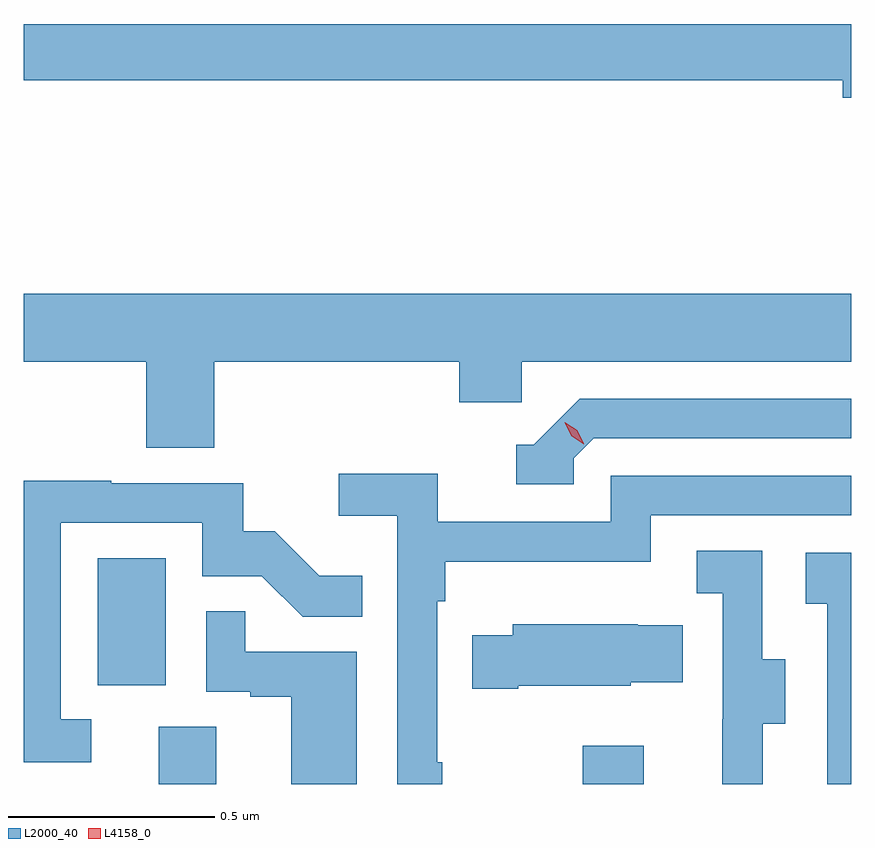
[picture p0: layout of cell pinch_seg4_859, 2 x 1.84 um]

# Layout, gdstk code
import gdstk
lib = gdstk.Library(unit=1e-6, precision=1e-09)
def R(c, l, rs):  # rectangles x0, y0, x1, y1
    for r in rs: c.add(gdstk.rectangle(r[:2], r[2:], *l))
def P(c, l, *ps):  # polygons
    for p in ps: c.add(gdstk.Polygon(p, *l))
L2000_40 = (2000, 40)
L4158_0 = (4158, 0)

pinch_seg4_859 = lib.new_cell('pinch_seg4_859')
R(pinch_seg4_859, L2000_40, [(875.645,803.792,875.785,803.93), (876.67,803.792,876.817,803.884), (875.498,804.03,875.662,804.337)])
P(pinch_seg4_859, L2000_40, [(877.319,805.628),(875.319,805.628),(875.319,805.492),(877.298,805.492),(877.298,805.45),(877.319,805.45)],
  [(875.78,804.812),(876.371,804.812),(876.371,804.714),(876.522,804.714),(876.522,804.812),(877.319,804.812),(877.319,804.976),(875.319,804.976),(875.319,804.812),(875.615,804.812),(875.615,804.604),(875.78,804.604)],
  [(876.648,804.579),(876.696,804.627),(877.319,804.627),(877.319,804.723),(876.663,804.723),(876.552,804.612),(876.509,804.612),(876.509,804.516),(876.648,804.516)],
  [(876.331,803.845),(876.318,803.845),(876.318,804.233),(876.338,804.233),(876.338,804.329),(876.834,804.329),(876.834,804.441),(877.319,804.441),(877.319,804.537),(876.738,804.537),(876.738,804.426),(876.32,804.426),(876.32,804.542),(876.081,804.542),(876.081,804.44),(876.222,804.44),(876.222,803.792),(876.331,803.792)],
  [(875.482,803.949),(875.409,803.949),(875.409,804.423),(875.751,804.423),(875.751,804.294),(875.895,804.294),(875.993,804.196),(876.137,804.196),(876.137,804.295),(876.033,804.295),(875.926,804.402),(875.85,804.402),(875.85,804.519),(875.531,804.519),(875.531,804.524),(875.319,804.524),(875.319,803.844),(875.482,803.844)],
  [(877.105,803.938),(877.159,803.938),(877.159,804.093),(877.104,804.093),(877.104,804.356),(876.945,804.356),(876.945,804.253),(877.008,804.253),(877.008,803.949),(877.007,803.949),(877.007,803.792),(877.105,803.792)],
  [(877.319,804.351),(877.209,804.351),(877.209,804.227),(877.26,804.227),(877.26,803.792),(877.319,803.792)],
  [(876.124,804.111),(875.855,804.111),(875.855,804.209),(875.76,804.209),(875.76,804.015),(875.867,804.015),(875.867,804.003),(875.966,804.003),(875.966,803.792),(876.124,803.792)],
  [(876.514,804.029),(876.786,804.029),(876.786,804.038),(876.911,804.038),(876.911,804.175),(876.803,804.175),(876.803,804.178),(876.501,804.178),(876.501,804.151),(876.403,804.151),(876.403,804.022),(876.514,804.022)])
P(pinch_seg4_859, L4158_0, [(876.672,804.613),(876.642,804.633),(876.626,804.666),(876.626,804.666),(876.626,804.666),(876.657,804.646),(876.672,804.614),(876.672,804.613)])

lib.write_gds('pinch_seg4_859.gds')
